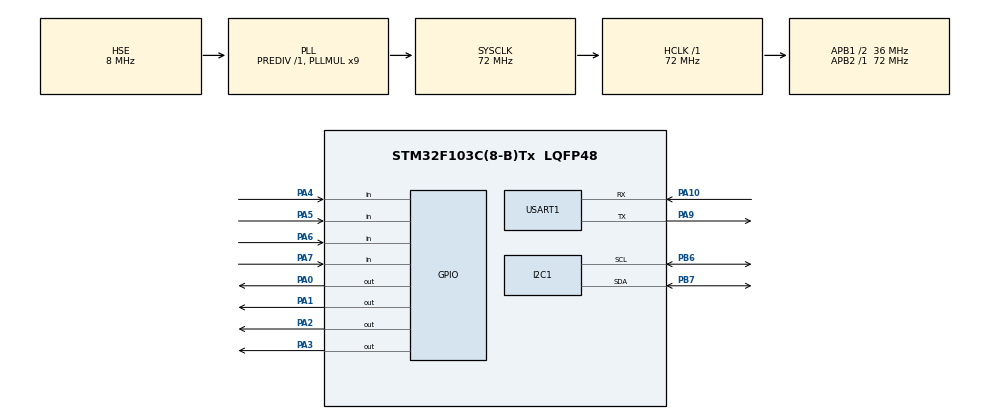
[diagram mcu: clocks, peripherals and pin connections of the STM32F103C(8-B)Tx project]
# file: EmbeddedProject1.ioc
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I2C1.I2C_Mode=I2C_Fast
Mcu.Family=STM32F1
Mcu.Name=STM32F103C(8-B)Tx
Mcu.Package=LQFP48
NVIC.PriorityGroup=NVIC_PRIORITYGROUP_4
PA0-WKUP.Signal=GPIO_Output
PA1.Signal=GPIO_Output
PA10.Mode=Asynchronous
PA10.Signal=USART1_RX
PA13.Mode=Serial_Wire
PA13.Signal=SYS_JTMS-SWDIO
PA14.Mode=Serial_Wire
PA14.Signal=SYS_JTCK-SWCLK
PA2.Signal=GPIO_Output
PA3.Signal=GPIO_Output
PA4.Signal=GPIO_Input
PA5.Signal=GPIO_Input
PA6.Signal=GPIO_Input
PA7.Signal=GPIO_Input
PA9.Mode=Asynchronous
PA9.Signal=USART1_TX
PB6.Mode=I2C
PB6.Signal=I2C1_SCL
PB7.Mode=I2C
PB7.Signal=I2C1_SDA
PD0-OSC_IN.Mode=HSE-External-Oscillator
PD0-OSC_IN.Signal=RCC_OSC_IN
PD1-OSC_OUT.Mode=HSE-External-Oscillator
PD1-OSC_OUT.Signal=RCC_OSC_OUT
ProjectManager.HeapSize=0x200
ProjectManager.StackSize=0x400
ProjectManager.TargetToolchain=Other Toolchains (GPDSC)
RCC.AHBFreq_Value=72000000
RCC.APB1CLKDivider=RCC_HCLK_DIV2
RCC.APB1Freq_Value=36000000
RCC.APB1TimFreq_Value=72000000
RCC.APB2Freq_Value=72000000
RCC.APB2TimFreq_Value=72000000
RCC.HCLKFreq_Value=72000000
RCC.PLLMUL=RCC_PLL_MUL9
RCC.PLLSourceVirtual=RCC_PLLSOURCE_HSE
RCC.SYSCLKFreq_VALUE=72000000
RCC.SYSCLKSource=RCC_SYSCLKSOURCE_PLLCLK
RCC.USBFreq_Value=72000000
USART1.VirtualMode=VM_ASYNC
board=custom

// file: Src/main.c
/* USER CODE BEGIN Header */
/**
  ******************************************************************************
  * @file           : main.c
  * @brief          : Main program body
  ******************************************************************************
  * @attention
  *
  * Copyright (c) 2022 STMicroelectronics.
  * All rights reserved.
  *
  * This software is licensed under terms that can be found in the LICENSE file
  * in the root directory of this software component.
  * If no LICENSE file comes with this software, it is provided AS-IS.
  *
  ******************************************************************************
  */
/* USER CODE END Header */
#include "main.h"

/* USER CODE BEGIN Includes */
#include "../External Drivers/OLED Display/ssd1306.h"
#include "../External Drivers/OLED Display/fonts.h"
#include <stdio.h>
/* USER CODE END Includes */

I2C_HandleTypeDef hi2c1;

UART_HandleTypeDef huart1;

void SystemClock_Config(void);
static void MX_GPIO_Init(void);
static void MX_I2C1_Init(void);
static void MX_USART1_UART_Init(void);

int main(void)
{
  /* USER CODE BEGIN 1 */
	uint8_t x_value = 0;
	uint8_t x_msg[10];
  /* USER CODE END 1 */

  /* MCU Configuration--------------------------------------------------------*/

  /* Reset of all peripherals, Initializes the Flash interface and the Systick. */
  HAL_Init();

  /* Configure the system clock */
  SystemClock_Config();

  /* Initialize all configured peripherals */
  MX_GPIO_Init();
  MX_I2C1_Init();
  MX_USART1_UART_Init();
  /* USER CODE BEGIN 2 */
	SSD1306_Init(); // initialize the display
  /* USER CODE END 2 */

  /* Infinite loop */
  /* USER CODE BEGIN WHILE */
  while (1)
  {
	  SSD1306_GotoXY(10, 10); // goto 10, 10
	  SSD1306_Puts("HELLO WORLD", &Font_7x10, 1); // print Hello
	  SSD1306_GotoXY(10, 30);
	  sprintf(x_msg, "X = %d", x_value);
	  SSD1306_Puts(x_msg, &Font_11x18, 1);
	  SSD1306_UpdateScreen(); // update screen
	  x_value++;
	  if (x_value >= 254)
	  {
		  x_value = 0;
	  }
	  HAL_Delay(100);
    /* USER CODE END WHILE */

  }
}

void SystemClock_Config(void)
{
  RCC_OscInitTypeDef RCC_OscInitStruct = {0};
  RCC_ClkInitTypeDef RCC_ClkInitStruct = {0};

  /** Initializes the RCC Oscillators according to the specified parameters
  * in the RCC_OscInitTypeDef structure.
  */
  RCC_OscInitStruct.OscillatorType = RCC_OSCILLATORTYPE_HSE;
  RCC_OscInitStruct.HSEState = RCC_HSE_ON;
  RCC_OscInitStruct.HSEPredivValue = RCC_HSE_PREDIV_DIV1;
  RCC_OscInitStruct.HSIState = RCC_HSI_ON;
  RCC_OscInitStruct.PLL.PLLState = RCC_PLL_ON;
  RCC_OscInitStruct.PLL.PLLSource = RCC_PLLSOURCE_HSE;
  RCC_OscInitStruct.PLL.PLLMUL = RCC_PLL_MUL9;
  if (HAL_RCC_OscConfig(&RCC_OscInitStruct) != HAL_OK)
  {
    Error_Handler();
  }
  /** Initializes the CPU, AHB and APB buses clocks
  */
  RCC_ClkInitStruct.ClockType = RCC_CLOCKTYPE_HCLK|RCC_CLOCKTYPE_SYSCLK
                              |RCC_CLOCKTYPE_PCLK1|RCC_CLOCKTYPE_PCLK2;
  RCC_ClkInitStruct.SYSCLKSource = RCC_SYSCLKSOURCE_PLLCLK;
  RCC_ClkInitStruct.AHBCLKDivider = RCC_SYSCLK_DIV1;
  RCC_ClkInitStruct.APB1CLKDivider = RCC_HCLK_DIV2;
  RCC_ClkInitStruct.APB2CLKDivider = RCC_HCLK_DIV1;

  if (HAL_RCC_ClockConfig(&RCC_ClkInitStruct, FLASH_LATENCY_2) != HAL_OK)
  {
    Error_Handler();
  }
}

static void MX_I2C1_Init(void)
{

  hi2c1.Instance = I2C1;
  hi2c1.Init.ClockSpeed = 400000;
  hi2c1.Init.DutyCycle = I2C_DUTYCYCLE_2;
  hi2c1.Init.OwnAddress1 = 0;
  hi2c1.Init.AddressingMode = I2C_ADDRESSINGMODE_7BIT;
  hi2c1.Init.DualAddressMode = I2C_DUALADDRESS_DISABLE;
  hi2c1.Init.OwnAddress2 = 0;
  hi2c1.Init.GeneralCallMode = I2C_GENERALCALL_DISABLE;
  hi2c1.Init.NoStretchMode = I2C_NOSTRETCH_DISABLE;
  if (HAL_I2C_Init(&hi2c1) != HAL_OK)
  {
    Error_Handler();
  }

}

static void MX_USART1_UART_Init(void)
{

  huart1.Instance = USART1;
  huart1.Init.BaudRate = 115200;
  huart1.Init.WordLength = UART_WORDLENGTH_8B;
  huart1.Init.StopBits = UART_STOPBITS_1;
  huart1.Init.Parity = UART_PARITY_NONE;
  huart1.Init.Mode = UART_MODE_TX_RX;
  huart1.Init.HwFlowCtl = UART_HWCONTROL_NONE;
  huart1.Init.OverSampling = UART_OVERSAMPLING_16;
  if (HAL_UART_Init(&huart1) != HAL_OK)
  {
    Error_Handler();
  }

}

static void MX_GPIO_Init(void)
{
  GPIO_InitTypeDef GPIO_InitStruct = {0};

  /* GPIO Ports Clock Enable */
  __HAL_RCC_GPIOD_CLK_ENABLE();
  __HAL_RCC_GPIOA_CLK_ENABLE();
  __HAL_RCC_GPIOB_CLK_ENABLE();

  /*Configure GPIO pin Output Level */
  HAL_GPIO_WritePin(GPIOA, GPIO_PIN_0|GPIO_PIN_1|GPIO_PIN_2|GPIO_PIN_3, GPIO_PIN_RESET);

  /*Configure GPIO pins : PA0 PA1 PA2 PA3 */
  GPIO_InitStruct.Pin = GPIO_PIN_0|GPIO_PIN_1|GPIO_PIN_2|GPIO_PIN_3;
  GPIO_InitStruct.Mode = GPIO_MODE_OUTPUT_PP;
  GPIO_InitStruct.Pull = GPIO_NOPULL;
  GPIO_InitStruct.Speed = GPIO_SPEED_FREQ_LOW;
  HAL_GPIO_Init(GPIOA, &GPIO_InitStruct);

  /*Configure GPIO pins : PA4 PA5 PA6 PA7 */
  GPIO_InitStruct.Pin = GPIO_PIN_4|GPIO_PIN_5|GPIO_PIN_6|GPIO_PIN_7;
  GPIO_InitStruct.Mode = GPIO_MODE_INPUT;
  GPIO_InitStruct.Pull = GPIO_NOPULL;
  HAL_GPIO_Init(GPIOA, &GPIO_InitStruct);

}

void Error_Handler(void)
{
  __disable_irq();
  while (1)
  {
  }
}
